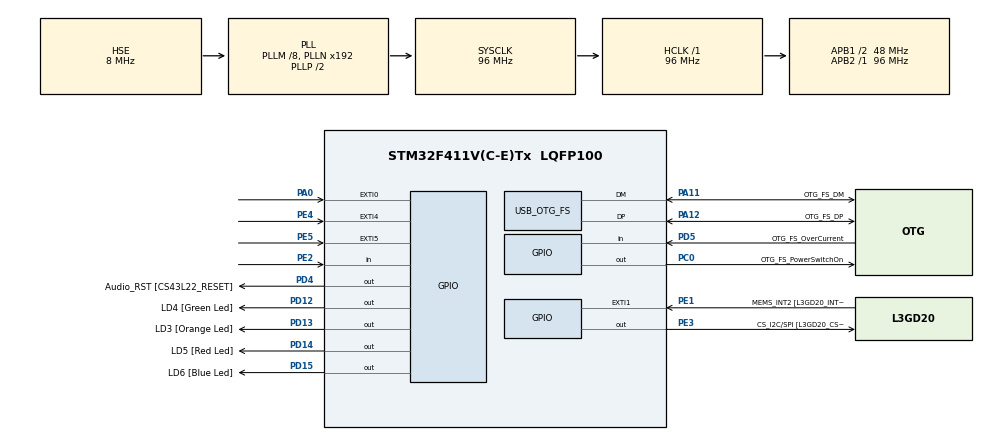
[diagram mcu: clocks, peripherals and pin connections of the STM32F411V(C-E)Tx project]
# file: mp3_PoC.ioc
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FATFS._USE_LFN=2
Mcu.Family=STM32F4
Mcu.Name=STM32F411V(C-E)Tx
Mcu.Package=LQFP100
NVIC.OTG_FS_IRQn=true\:0\:0\:false\:false\:true\:false
NVIC.PriorityGroup=NVIC_PRIORITYGROUP_0
PA0-WKUP.GPIO_ModeDefaultEXTI=GPIO_MODE_EVT_RISING
PA0-WKUP.Signal=GPXTI0
PA10.GPIO_Label=OTG_FS_ID
PA10.Signal=USB_OTG_FS_ID
PA11.GPIO_Label=OTG_FS_DM
PA11.Mode=Host_Only
PA11.Signal=USB_OTG_FS_DM
PA12.GPIO_Label=OTG_FS_DP
PA12.Mode=Host_Only
PA12.Signal=USB_OTG_FS_DP
PA13.GPIO_Label=SWDIO
PA13.Signal=SYS_JTMS-SWDIO
PA14.GPIO_Label=SWCLK
PA14.Signal=SYS_JTCK-SWCLK
PA4.GPIO_Label=I2S3_WS [CS43L22_LRCK]
PA4.GPIO_Mode=GPIO_MODE_AF_PP
PA4.GPIO_PuPd=GPIO_NOPULL
PA4.GPIO_Speed=GPIO_SPEED_FREQ_LOW
PA4.Signal=I2S3_WS
PA5.GPIO_Label=SPI1_SCK [L3GD20_SC/SPC]
PA5.Signal=SPI1_SCK
PA6.GPIO_Label=SPI1_MISO [L3GD20_AS0/SDO]
PA6.Signal=SPI1_MISO
PA7.GPIO_Label=SPI1_MOSI [L3GD20_SDA/SDI/SDO]
PA7.Signal=SPI1_MOSI
PA9.GPIO_Label=VBUS_FS
PA9.Signal=USB_OTG_FS_VBUS
PB10.GPIO_Label=CLK_IN [MP45DT02_CLK]
PB10.Signal=I2S2_CK
PB12.Signal=I2S2_WS
PB3.GPIO_Label=SWO
PB3.Signal=SYS_JTDO-SWO
PB6.GPIO_Label=Audio_SCL [CS43L22_SCL]
PB6.GPIO_Mode=GPIO_MODE_AF_OD
PB6.GPIO_PuPd=GPIO_NOPULL
PB6.GPIO_Speed=GPIO_SPEED_FREQ_LOW
PB6.Signal=I2C1_SCL
PB9.GPIO_Label=Audio_SDA [CS43L22_SDA]
PB9.GPIO_Mode=GPIO_MODE_AF_OD
PB9.GPIO_PuPd=GPIO_NOPULL
PB9.GPIO_Speed=GPIO_SPEED_FREQ_LOW
PB9.Signal=I2C1_SDA
PC0.GPIO_Label=OTG_FS_PowerSwitchOn
PC0.PinState=GPIO_PIN_SET
PC0.Signal=GPIO_Output
PC10.GPIO_Label=I2S3_SCK [CS43L22_SCLK]
PC10.GPIO_Mode=GPIO_MODE_AF_PP
PC10.GPIO_PuPd=GPIO_NOPULL
PC10.GPIO_Speed=GPIO_SPEED_FREQ_LOW
PC10.Signal=I2S3_CK
PC12.GPIO_Label=I2S3_SD [CS43L22_SDIN]
PC12.GPIO_Mode=GPIO_MODE_AF_PP
PC12.GPIO_PuPd=GPIO_NOPULL
PC12.GPIO_Speed=GPIO_SPEED_FREQ_LOW
PC12.Signal=I2S3_SD
PC14-OSC32_IN.GPIO_Label=PC14-OSC32_IN
PC14-OSC32_IN.Signal=RCC_OSC32_IN
PC15-OSC32_OUT.GPIO_Label=PC15-OSC32_OUT
PC15-OSC32_OUT.Signal=RCC_OSC32_OUT
PC3.GPIO_Label=PDM_OUT [MP45DT02_DOUT]
PC3.Signal=I2S2_SD
PC7.GPIO_Label=I2S3_MCK [CS43L22_MCLK]
PC7.GPIO_Mode=GPIO_MODE_AF_PP
PC7.GPIO_PuPd=GPIO_NOPULL
PC7.GPIO_Speed=GPIO_SPEED_FREQ_LOW
PC7.Signal=I2S3_MCK
PD12.GPIO_Label=LD4 [Green Led]
PD12.GPIO_PuPd=GPIO_NOPULL
PD12.GPIO_Speed=GPIO_SPEED_FREQ_LOW
PD12.Signal=GPIO_Output
PD13.GPIO_Label=LD3 [Orange Led]
PD13.GPIO_PuPd=GPIO_NOPULL
PD13.GPIO_Speed=GPIO_SPEED_FREQ_LOW
PD13.Signal=GPIO_Output
PD14.GPIO_Label=LD5 [Red Led]
PD14.GPIO_PuPd=GPIO_NOPULL
PD14.GPIO_Speed=GPIO_SPEED_FREQ_LOW
PD14.Signal=GPIO_Output
PD15.GPIO_Label=LD6 [Blue Led]
PD15.GPIO_PuPd=GPIO_NOPULL
PD15.GPIO_Speed=GPIO_SPEED_FREQ_LOW
PD15.Signal=GPIO_Output
PD4.GPIO_Label=Audio_RST [CS43L22_RESET]
PD4.Signal=GPIO_Output
PD5.GPIO_Label=OTG_FS_OverCurrent
PD5.Signal=GPIO_Input
PE1.GPIO_Label=MEMS_INT2 [L3GD20_INT2]
PE1.GPIO_ModeDefaultEXTI=GPIO_MODE_EVT_RISING
PE1.Signal=GPXTI1
PE2.Signal=GPIO_Input
PE3.GPIO_Label=CS_I2C/SPI [L3GD20_CS_I2C/SPI]
PE3.Signal=GPIO_Output
PE4.GPIO_ModeDefaultEXTI=GPIO_MODE_EVT_RISING
PE4.Signal=GPXTI4
PE5.GPIO_ModeDefaultEXTI=GPIO_MODE_EVT_RISING
PE5.Signal=GPXTI5
PH0\ -\ OSC_IN.GPIO_Label=PH0-OSC_IN
PH0\ -\ OSC_IN.Mode=HSE-External-Oscillator
PH0\ -\ OSC_IN.Signal=RCC_OSC_IN
PH1\ -\ OSC_OUT.GPIO_Label=PH1-OSC_OUT
PH1\ -\ OSC_OUT.Mode=HSE-External-Oscillator
PH1\ -\ OSC_OUT.Signal=RCC_OSC_OUT
ProjectManager.HeapSize=0x200
ProjectManager.StackSize=0x400
ProjectManager.TargetToolchain=SW4STM32
RCC.48MHZClocksFreq_Value=48000000
RCC.AHBFreq_Value=96000000
RCC.APB1CLKDivider=RCC_HCLK_DIV2
RCC.APB1Freq_Value=48000000
RCC.APB1TimFreq_Value=96000000
RCC.APB2Freq_Value=96000000
RCC.APB2TimFreq_Value=96000000
RCC.CortexFreq_Value=96000000
RCC.HCLKFreq_Value=96000000
RCC.HSE_VALUE=8000000
RCC.HSI_VALUE=16000000
RCC.LSE_VALUE=32768
RCC.PLLI2SM=5
RCC.PLLI2SN=200
RCC.PLLM=8
RCC.SYSCLKFreq_VALUE=96000000
RCC.SYSCLKSource=RCC_SYSCLKSOURCE_PLLCLK
RCC.VCOOutputFreq_Value=192000000
USB_HOST.USBH_HandleTypeDef=hUsbHostFS
USB_HOST.VirtualModeFS=Msc
USB_OTG_FS.VirtualMode=Host_Only
USB_OTG_FS.phy_itface=HCD_PHY_EMBEDDED
VP_FATFS_VS_USB.Mode=USB
VP_USB_HOST_VS_USB_HOST_MSC_FS.Mode=MSC_FS
board=32F411EDISCOVERY

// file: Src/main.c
/**
  ******************************************************************************
  * @file           : main.c
  * @brief          : Main program body
  ******************************************************************************
  * This notice applies to any and all portions of this file
  * that are not between comment pairs USER CODE BEGIN and
  * USER CODE END. Other portions of this file, whether
  * inserted by the user or by software development tools
  * are owned by their respective copyright owners.
  *
  * Copyright (c) 2018 STMicroelectronics International N.V.
  * All rights reserved.
  *
  * Redistribution and use in source and binary forms, with or without
  * modification, are permitted, provided that the following conditions are met:
  *
  * 1. Redistribution of source code must retain the above copyright notice,
  *    this list of conditions and the following disclaimer.
  * 2. Redistributions in binary form must reproduce the above copyright notice,
  *    this list of conditions and the following disclaimer in the documentation
  *    and/or other materials provided with the distribution.
  * 3. Neither the name of STMicroelectronics nor the names of other
  *    contributors to this software may be used to endorse or promote products
  *    derived from this software without specific written permission.
  * 4. This software, including modifications and/or derivative works of this
  *    software, must execute solely and exclusively on microcontroller or
  *    microprocessor devices manufactured by or for STMicroelectronics.
  * 5. Redistribution and use of this software other than as permitted under
  *    this license is void and will automatically terminate your rights under
  *    this license.
  *
  * THIS SOFTWARE IS PROVIDED BY STMICROELECTRONICS AND CONTRIBUTORS "AS IS"
  * AND ANY EXPRESS, IMPLIED OR STATUTORY WARRANTIES, INCLUDING, BUT NOT
  * LIMITED TO, THE IMPLIED WARRANTIES OF MERCHANTABILITY, FITNESS FOR A
  * PARTICULAR PURPOSE AND NON-INFRINGEMENT OF THIRD PARTY INTELLECTUAL PROPERTY
  * RIGHTS ARE DISCLAIMED TO THE FULLEST EXTENT PERMITTED BY LAW. IN NO EVENT
  * SHALL STMICROELECTRONICS OR CONTRIBUTORS BE LIABLE FOR ANY DIRECT, INDIRECT,
  * INCIDENTAL, SPECIAL, EXEMPLARY, OR CONSEQUENTIAL DAMAGES (INCLUDING, BUT NOT
  * LIMITED TO, PROCUREMENT OF SUBSTITUTE GOODS OR SERVICES; LOSS OF USE, DATA,
  * OR PROFITS; OR BUSINESS INTERRUPTION) HOWEVER CAUSED AND ON ANY THEORY OF
  * LIABILITY, WHETHER IN CONTRACT, STRICT LIABILITY, OR TORT (INCLUDING
  * NEGLIGENCE OR OTHERWISE) ARISING IN ANY WAY OUT OF THE USE OF THIS SOFTWARE,
  * EVEN IF ADVISED OF THE POSSIBILITY OF SUCH DAMAGE.
  *
  ******************************************************************************
  */
#include "main.h"
#include "stm32f4xx_hal.h"
#include "fatfs.h"
#include "usb_host.h"
#include "gpio.h"

/* USER CODE BEGIN Includes */
#include "uart.h"
#include "mp3_player.h"
/* USER CODE END Includes */

/* USER CODE BEGIN PV */
/* Private variables ---------------------------------------------------------*/
ApplicationTypeDef applicationState = APPLICATION_IDLE;
FATFS fs;
/* USER CODE END PV */

void SystemClock_Config(void);
void MX_USB_HOST_Process(void);

/* USER CODE BEGIN PFP */
/* Private function prototypes -----------------------------------------------*/
void loadFileListing();
void mountVolume();
/* USER CODE END PFP */

int main(void)
{

  /* MCU Configuration----------------------------------------------------------*/

  /* Reset of all peripherals, Initializes the Flash interface and the Systick. */
  HAL_Init();

  /* Configure the system clock */
  SystemClock_Config();

  /* Initialize all configured peripherals */
  MX_GPIO_Init();
  MX_USB_HOST_Init();
  MX_FATFS_Init();
  /* USER CODE BEGIN 2 */
  HAL_GPIO_WritePin(GPIOC, GPIO_PIN_0, GPIO_PIN_RESET);
  uart_init();

  printf("Holi!\r\n");
  ApplicationTypeDef localState = APPLICATION_IDLE;

  /* USER CODE END 2 */

  /* Infinite loop */
  while (1)
  {
    MX_USB_HOST_Process();

  /* USER CODE BEGIN 3 */
    if (localState != applicationState) {
        switch (applicationState) {
        case APPLICATION_IDLE:
    		printf("Idle state\r\n");
        	break;
        case APPLICATION_START:
    		printf("Start state\r\n");
        	break;
        case APPLICATION_READY:
    		printf("Ready state\r\n");
    		mountVolume();
    		loadFileListing();
        	break;
        case APPLICATION_DISCONNECT:
        	stopMP3Song();
    		printf("Disconnect state\r\n");
        	break;
        default:
    		printf("Unknown state\r\n");
        	break;
        }
        localState = applicationState;
    }

	playMP3Task();
  }
  /* USER CODE END 3 */

}

void SystemClock_Config(void)
{

  RCC_OscInitTypeDef RCC_OscInitStruct;
  RCC_ClkInitTypeDef RCC_ClkInitStruct;

    /**Configure the main internal regulator output voltage
    */
  __HAL_RCC_PWR_CLK_ENABLE();

  __HAL_PWR_VOLTAGESCALING_CONFIG(PWR_REGULATOR_VOLTAGE_SCALE1);

    /**Initializes the CPU, AHB and APB busses clocks
    */
  RCC_OscInitStruct.OscillatorType = RCC_OSCILLATORTYPE_HSE;
  RCC_OscInitStruct.HSEState = RCC_HSE_ON;
  RCC_OscInitStruct.PLL.PLLState = RCC_PLL_ON;
  RCC_OscInitStruct.PLL.PLLSource = RCC_PLLSOURCE_HSE;
  RCC_OscInitStruct.PLL.PLLM = 8;
  RCC_OscInitStruct.PLL.PLLN = 192;
  RCC_OscInitStruct.PLL.PLLP = RCC_PLLP_DIV2;
  RCC_OscInitStruct.PLL.PLLQ = 4;
  if (HAL_RCC_OscConfig(&RCC_OscInitStruct) != HAL_OK)
  {
    _Error_Handler(__FILE__, __LINE__);
  }

    /**Initializes the CPU, AHB and APB busses clocks
    */
  RCC_ClkInitStruct.ClockType = RCC_CLOCKTYPE_HCLK|RCC_CLOCKTYPE_SYSCLK
                              |RCC_CLOCKTYPE_PCLK1|RCC_CLOCKTYPE_PCLK2;
  RCC_ClkInitStruct.SYSCLKSource = RCC_SYSCLKSOURCE_PLLCLK;
  RCC_ClkInitStruct.AHBCLKDivider = RCC_SYSCLK_DIV1;
  RCC_ClkInitStruct.APB1CLKDivider = RCC_HCLK_DIV2;
  RCC_ClkInitStruct.APB2CLKDivider = RCC_HCLK_DIV1;

  if (HAL_RCC_ClockConfig(&RCC_ClkInitStruct, FLASH_LATENCY_3) != HAL_OK)
  {
    _Error_Handler(__FILE__, __LINE__);
  }

    /**Configure the Systick interrupt time
    */
  HAL_SYSTICK_Config(HAL_RCC_GetHCLKFreq()/1000);

    /**Configure the Systick
    */
  HAL_SYSTICK_CLKSourceConfig(SYSTICK_CLKSOURCE_HCLK);

  /* SysTick_IRQn interrupt configuration */
  HAL_NVIC_SetPriority(SysTick_IRQn, 0, 0);
}

/* USER CODE BEGIN 4 */

void MX_USB_HOST_StateChanged(ApplicationTypeDef appState) {
	applicationState = appState;
}

int _write (int fd, const void *buf, size_t count) {
	// Write to UART Here
	uart_write(buf, count);
	return count;
}
void mountVolume() {
	FRESULT res = f_mount(&fs, "0:/", 0);
	if (res != FR_OK) {
		printf("Error mounting filesystem %d\r\n", res);
	}
}

void loadFileListing() {
	DIR rootdir;
	FILINFO finfo;
    FRESULT res = FR_OK;

	if ((res = f_opendir(&rootdir, "/")) != FR_OK) {
		printf("Error opening root directory %d\r\n", res);
		return;
	}

	while (f_readdir(&rootdir, &finfo) == FR_OK) {
		if (finfo.fname[0] == '\0') break;
		if (finfo.fname[0] == '.') continue;

		if (finfo.fattrib & AM_DIR) {
			printf("found directory %s\r\n", finfo.fname);
		} else {
			printf("found file %s\r\n", finfo.fname);
		}

		if (strstr(finfo.fname, ".mp3")) {
			printf("found mp3 file! trying to play!\r\n");
			playMP3Song(finfo.fname);
			break;
		}
	}
	f_closedir(&rootdir);
	printf("done reading rootdir\r\n");
}

/* USER CODE END 4 */

void _Error_Handler(char *file, int line)
{
  while(1)
  {
  }
}

#ifdef  USE_FULL_ASSERT
/**
  * @brief  Reports the name of the source file and the source line number
  *         where the assert_param error has occurred.
  * @param  file: pointer to the source file name
  * @param  line: assert_param error line source number
  * @retval None
  */
void assert_failed(uint8_t* file, uint32_t line)
{
  /* USER CODE BEGIN 6 */
  /* User can add his own implementation to report the file name and line number,
     tex: printf("Wrong parameters value: file %s on line %d\r\n", file, line) */
	UNUSED(file);
	UNUSED(line);
	while(1);
  /* USER CODE END 6 */
}
#endif /* USE_FULL_ASSERT */

/************************ (C) COPYRIGHT STMicroelectronics *****END OF FILE****/
